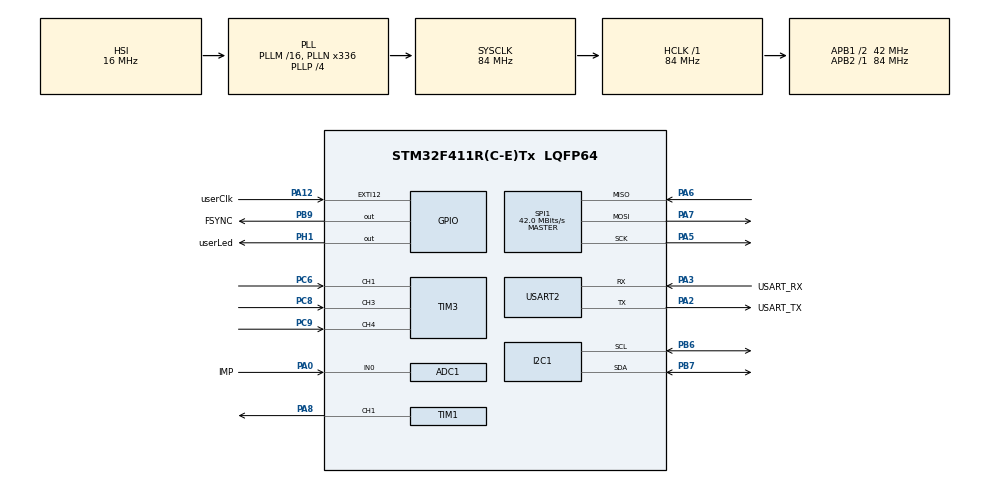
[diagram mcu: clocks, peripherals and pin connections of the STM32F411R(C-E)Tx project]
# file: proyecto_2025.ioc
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ADC1.Channel-0\#ChannelRegularConversion=ADC_CHANNEL_0
ADC1.ContinuousConvMode=ENABLE
ADC1.DMAContinuousRequests=ENABLE
ADC1.NbrOfConversionFlag=1
ADC1.Rank-0\#ChannelRegularConversion=1
ADC1.SamplingTime-0\#ChannelRegularConversion=ADC_SAMPLETIME_3CYCLES
ADC1.master=1
Dma.ADC1.0.Direction=DMA_PERIPH_TO_MEMORY
Dma.ADC1.0.FIFOMode=DMA_FIFOMODE_DISABLE
Dma.ADC1.0.Instance=DMA2_Stream0
Dma.ADC1.0.MemDataAlignment=DMA_MDATAALIGN_HALFWORD
Dma.ADC1.0.MemInc=DMA_MINC_ENABLE
Dma.ADC1.0.Mode=DMA_CIRCULAR
Dma.ADC1.0.PeriphDataAlignment=DMA_PDATAALIGN_HALFWORD
Dma.ADC1.0.PeriphInc=DMA_PINC_DISABLE
Dma.ADC1.0.Priority=DMA_PRIORITY_LOW
Dma.Request0=ADC1
I2C1.I2C_Mode=I2C_Fast
Mcu.Family=STM32F4
Mcu.Name=STM32F411R(C-E)Tx
Mcu.Package=LQFP64
NVIC.DMA2_Stream0_IRQn=true\:0\:0\:false\:false\:true\:false\:true\:true
NVIC.EXTI15_10_IRQn=true\:0\:0\:false\:false\:true\:true\:true\:true
NVIC.PriorityGroup=NVIC_PRIORITYGROUP_0
NVIC.TIM2_IRQn=true\:0\:0\:false\:false\:true\:true\:true\:true
NVIC.TIM3_IRQn=true\:0\:0\:false\:false\:true\:true\:true\:true
NVIC.USART2_IRQn=true\:0\:0\:false\:false\:true\:true\:true\:true
PA0-WKUP.GPIO_Label=IMP
PA0-WKUP.Signal=ADCx_IN0
PA12.GPIO_Label=userClk
PA12.Signal=GPXTI12
PA13.GPIO_Label=TMS
PA13.Mode=Serial_Wire
PA13.Signal=SYS_JTMS-SWDIO
PA14.GPIO_Label=TCK
PA14.Mode=Serial_Wire
PA14.Signal=SYS_JTCK-SWCLK
PA2.GPIO_Label=USART_TX
PA2.Mode=Asynchronous
PA2.Signal=USART2_TX
PA3.GPIO_Label=USART_RX
PA3.Mode=Asynchronous
PA3.Signal=USART2_RX
PA5.Mode=Full_Duplex_Master
PA5.Signal=SPI1_SCK
PA6.Mode=Full_Duplex_Master
PA6.Signal=SPI1_MISO
PA7.Mode=Full_Duplex_Master
PA7.Signal=SPI1_MOSI
PA8.Signal=S_TIM1_CH1
PB3.GPIO_Label=SWO
PB3.Signal=SYS_JTDO-SWO
PB6.Mode=I2C
PB6.Signal=I2C1_SCL
PB7.Mode=I2C
PB7.Signal=I2C1_SDA
PB9.GPIO_Label=FSYNC
PB9.GPIO_Speed=GPIO_SPEED_FREQ_VERY_HIGH
PB9.PinState=GPIO_PIN_SET
PB9.Signal=GPIO_Output
PC6.Signal=S_TIM3_CH1
PC8.Signal=S_TIM3_CH3
PC9.Signal=S_TIM3_CH4
PH1\ -\ OSC_OUT.GPIO_Label=userLed
PH1\ -\ OSC_OUT.PinState=GPIO_PIN_SET
PH1\ -\ OSC_OUT.Signal=GPIO_Output
ProjectManager.HeapSize=0x200
ProjectManager.StackSize=0x400
ProjectManager.TargetToolchain=STM32CubeIDE
RCC.48MHZClocksFreq_Value=84000000
RCC.AHBFreq_Value=84000000
RCC.APB1CLKDivider=RCC_HCLK_DIV2
RCC.APB1Freq_Value=42000000
RCC.APB1TimFreq_Value=84000000
RCC.APB2Freq_Value=84000000
RCC.APB2TimFreq_Value=84000000
RCC.CortexFreq_Value=84000000
RCC.FLatency-AdvancedSettings=FLASH_LATENCY_2
RCC.HCLKFreq_Value=84000000
RCC.HSE_VALUE=8000000
RCC.HSI_VALUE=16000000
RCC.LSE_VALUE=32768
RCC.PLLN=336
RCC.PLLP=RCC_PLLP_DIV4
RCC.SYSCLKFreq_VALUE=84000000
RCC.SYSCLKSource=RCC_SYSCLKSOURCE_PLLCLK
RCC.VCOOutputFreq_Value=336000000
SH.ADCx_IN0.0=ADC1_IN0,IN0
SH.S_TIM1_CH1.0=TIM1_CH1,PWM Generation1 CH1
SH.S_TIM3_CH1.0=TIM3_CH1,PWM_Input_1
SH.S_TIM3_CH3.0=TIM3_CH3,Input_Capture3_from_TI3
SH.S_TIM3_CH4.0=TIM3_CH4,Input_Capture4_from_TI4
SPI1.CLKPolarity=SPI_POLARITY_HIGH
SPI1.CalculateBaudRate=42.0 MBits/s
SPI1.Direction=SPI_DIRECTION_2LINES
SPI1.Mode=SPI_MODE_MASTER
SPI1.VirtualType=VM_MASTER
TIM1.Channel-PWM\ Generation1\ CH1=TIM_CHANNEL_1
TIM2.AutoReloadPreload=TIM_AUTORELOAD_PRELOAD_ENABLE
TIM2.Period=500
TIM2.Prescaler=42000-1
TIM3.Channel-Input_Capture3_from_TI3=TIM_CHANNEL_3
TIM3.Channel-Input_Capture4_from_TI4=TIM_CHANNEL_4
TIM3.TIM_MasterOutputTrigger=TIM_TRGO_UPDATE
TIM4.Period=2000-1
TIM4.Prescaler=84-1
USART2.VirtualMode=VM_ASYNC
VP_TIM1_VS_ClockSourceINT.Mode=Internal
VP_TIM2_VS_ClockSourceINT.Mode=Internal
VP_TIM3_VS_ClockSourceINT.Mode=Internal
VP_TIM4_VS_ClockSourceINT.Mode=Internal
board=NUCLEO-F411RE

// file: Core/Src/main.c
/* USER CODE BEGIN Header */
	/**
	  ******************************************************************************
	  * @file           : main.c
	  * @brief          : Main program body
	  ******************************************************************************
	  * @attention
	  *
	  * Copyright (c) 2025 STMicroelectronics.
	  * All rights reserved.
	  *
	  * This software is licensed under terms that can be found in the LICENSE file
	  * in the root directory of this software component.
	  * If no LICENSE file comes with this software, it is provided AS-IS.
	  *
	  ******************************************************************************
	  */
/* USER CODE END Header */
#include "main.h"

/* USER CODE BEGIN Includes */
#include "fsm.h"
#include "AD9833.h"
#include "utils.h"

/* USER CODE END Includes */

/* USER CODE BEGIN PM */
#define LCD_ADDR_7BIT 0x22
extern I2C_HandleTypeDef hi2c1;
#define INT_ENABLE_REG     0x38
#define WHO_AM_I_REG       0x75
I2C_LCD_HandleTypeDef hlcd;
/* USER CODE END PM */

ADC_HandleTypeDef hadc1;
DMA_HandleTypeDef hdma_adc1;

I2C_HandleTypeDef hi2c1;

SPI_HandleTypeDef hspi1;

TIM_HandleTypeDef htim1;
TIM_HandleTypeDef htim2;
TIM_HandleTypeDef htim3;
TIM_HandleTypeDef htim4;

UART_HandleTypeDef huart2;

/* USER CODE BEGIN PV */

I2C_LCD_HandleTypeDef hlcd;
// ==== Globals DMA-TX ====
uint8_t   tx_ring[TX_BUFFER_SIZE];
volatile uint16_t  tx_head = 0, tx_tail = 0;
volatile uint8_t   tx_dma_busy = 0;
volatile uint16_t  tx_last_len = 0;
uint32_t counterOverflow= 0;
// ==== Muestreo / FFT ====
volatile uint16_t num_samples_to_capture = 512;
volatile uint16_t capture_index        = 0;
volatile uint16_t adc_max_ch1 = 0, adc_max_ch2 = 0;
volatile uint8_t  is_capture_active    = 0;
static uint32_t start_tick = 0;
volatile uint16_t cycle_count = 0;
#define CYCLES_TO_MEASURE 10
float     phase_results[FFT_SIZE_MAX];
float     frequency_results[FFT_SIZE_MAX];
volatile uint8_t command_ready_flag = 0;
char command_buffer[100] = {0};
float     freq_buffer[FREQ_BUFFER_SIZE] = {0};
uint8_t   freq_index = 0, freq_full = 0;

volatile float frecuencia_generada = 1000.0f;
#define ADC_BUF_LEN 1024 // Tamaño del buffer, preferiblemente una potencia de 2
uint16_t adc_dma_buffer[ADC_BUF_LEN];

// Variables para guardar los resultados del procesamiento
volatile uint16_t adc_max = 0;
volatile uint16_t adc_min = 4095;
volatile uint8_t data_ready_flag = 0;
uint32_t  timer_clk       = 84000000UL;
uint32_t  last_lcd_update = 0;

// Variables temporales para recepción simple (pueden ser estáticas o globales)
static uint8_t rx_index_simple = 0;
static char rx_buffer_simple[100] = {0};
// --- Input Capture ---
volatile uint32_t capture_ch1   = 0;
volatile uint32_t 	capture_ch2 = 0;
volatile uint32_t period_ticks  = 0;
volatile uint8_t  capture_flags = 0;
uint32_t last_uart_activity = 0;
// --- UART RX buffer ---
uint8_t rx_index   = 0;
uint8_t  rx_char    = 0;
char    rx_buffer[100]     = {0};
// --- FSM event ---
volatile e_PosiblesEvents current_event = EVENT_NONE;
// FSM necesita esto
char current_mode_str[21] = {0};
// --- FFT instance ---
arm_rfft_fast_instance_f32 fft_instance;
uint16_t fft_size = 512;

uint8_t tx_buffer[TX_BUFFER_SIZE] = {0};

volatile uint32_t ic_ref      = 0;
volatile uint32_t ic_sig      = 0;
volatile uint32_t last_ref    = 0;
volatile uint8_t  got_ref     = 0;
volatile uint8_t  got_sig     = 0;

/* USER CODE END PV */

void SystemClock_Config(void);
static void MX_GPIO_Init(void);
static void MX_DMA_Init(void);
static void MX_USART2_UART_Init(void);
static void MX_TIM2_Init(void);
static void MX_TIM4_Init(void);
static void MX_TIM3_Init(void);
static void MX_I2C1_Init(void);
static void MX_SPI1_Init(void);
static void MX_TIM1_Init(void);
static void MX_ADC1_Init(void);
/* USER CODE BEGIN PFP */
void System_Init(void);

/* USER CODE END PFP */

/* USER CODE BEGIN 0 */
	void ADC_Set_Sampling_Freq(uint32_t sampling_freq) {
	    if (sampling_freq == 0 || sampling_freq > 2000000) return; // Límite de 2 MHz

	    uint32_t timer_clk = 84000000;
	    uint32_t arr_value = (timer_clk / sampling_freq) - 1;
	    uint16_t psc_value = 0;

	    if (arr_value > 65535) {
	        psc_value = arr_value / 65536;
	        arr_value = (timer_clk / ((psc_value + 1) * sampling_freq)) - 1;
	    }

	    __HAL_TIM_SET_PRESCALER(&htim2, psc_value);
	    __HAL_TIM_SET_AUTORELOAD(&htim2, arr_value);
	}

	/**
	  * @brief Ajusta la frecuencia de la señal PWM generada por TIM1.
	  * @param freq_hz: Frecuencia deseada en Hertz.
	  * @retval None
	  */
	void PWM_SetFrequency(uint32_t freq_hz) {
	    if (freq_hz == 0 || freq_hz > 500000) {
	        return;
	    }

	    // El reloj para TIM1 en tu configuración es de 84MHz
	    uint32_t timer_clk = 84000000;
	    uint32_t arr_value;
	    uint32_t psc_value = 0;

	    // Fórmula: F_pwm = timer_clk / ((PSC+1) * (ARR+1))
	    // Primero, calculamos el valor de ARR asumiendo que el prescaler es 0
	    arr_value = (timer_clk / freq_hz) - 1;

	    // Si el valor de ARR excede el máximo de 16 bits (65535),
	    // debemos ajustar el prescaler para bajar la frecuencia del contador.
	    if (arr_value > 65535) {
	        psc_value = arr_value / 65536;
	        arr_value = (timer_clk / ((psc_value + 1) * freq_hz)) - 1;
	    }

	    // Actualiza los registros del timer en tiempo real
	    __HAL_TIM_SET_PRESCALER(&htim1, psc_value);
	    __HAL_TIM_SET_AUTORELOAD(&htim1, arr_value);

	    // Fija el ciclo de trabajo al 50%
	    __HAL_TIM_SET_COMPARE(&htim1, TIM_CHANNEL_1, arr_value / 2);

	    // Actualiza la variable global para mostrarla en el LCD
	    frecuencia_generada = (float)freq_hz;

	}

void System_Init(void) {
		HAL_ADC_Start_DMA(&hadc1, (uint32_t*)adc_dma_buffer, ADC_BUF_LEN);
    	HAL_TIM_PWM_Start(&htim1, TIM_CHANNEL_1);
	    HAL_TIM_Base_Start_IT(&htim2);
	    HAL_TIM_Base_Start_IT(&htim3);
	    HAL_TIM_Base_Start_IT(&htim4);
	    hlcd.hi2c    = &hi2c1;
	    hlcd.address = LCD_ADDR_7BIT << 1;
	    lcd_init(&hlcd);
	    init_fsm();
	    arm_rfft_fast_init_f32(&fft_instance, fft_size);
	    frecuencia_generada = 1000;
	    lcd_gotoxy(&hlcd, 0, 0);
	    lcd_puts(&hlcd, "   LCD FUNCIONA   ");
	    lcd_gotoxy(&hlcd, 0, 1);
	    lcd_puts(&hlcd, " STM32 + I2C OK ");
	    HAL_Delay(1500);
	    init_fsm();

	    HAL_TIM_Base_Start(&htim2);
	    HAL_UART_Receive_IT(&huart2, &rx_char, 1);
	    PWM_SetFrequency(1000);
	    strcpy(current_mode_str, "ESPERA");
	    mostrar_LCD();
	}

/* USER CODE END 0 */

int main(void)
{

  /* MCU Configuration--------------------------------------------------------*/

  /* Reset of all peripherals, Initializes the Flash interface and the Systick. */
	HAL_Init();

  /* Configure the system clock */
  SystemClock_Config();

  /* Initialize all configured peripherals */
  MX_GPIO_Init();
  MX_DMA_Init();
  MX_USART2_UART_Init();
  MX_TIM2_Init();
  MX_TIM4_Init();
  MX_TIM3_Init();
  MX_I2C1_Init();
  MX_SPI1_Init();
  MX_TIM1_Init();
  MX_ADC1_Init();
  /* USER CODE BEGIN 2 */
  /* Initialize all configured peripherals */

  AD9833_Init(&hspi1);
  I2C_Scanner();
  SPI_Debug_AD9833();
  System_Init();

  //current_event = EVENT_IMP_SWEEP_START;

  /* USER CODE END 2 */

  /* Infinite loop */
	  while (1)
	  {

    /* USER CODE BEGIN 3 */

		  if (current_event != EVENT_NONE) {
		         state_machine_action(current_event);
		         current_event = EVENT_NONE;
		     }

	  }
  /* USER CODE END 3 */
}

void SystemClock_Config(void)
{
  RCC_OscInitTypeDef RCC_OscInitStruct = {0};
  RCC_ClkInitTypeDef RCC_ClkInitStruct = {0};

  /** Configure the main internal regulator output voltage
  */
  __HAL_RCC_PWR_CLK_ENABLE();
  __HAL_PWR_VOLTAGESCALING_CONFIG(PWR_REGULATOR_VOLTAGE_SCALE1);

  /** Initializes the RCC Oscillators according to the specified parameters
  * in the RCC_OscInitTypeDef structure.
  */
  RCC_OscInitStruct.OscillatorType = RCC_OSCILLATORTYPE_HSI;
  RCC_OscInitStruct.HSIState = RCC_HSI_ON;
  RCC_OscInitStruct.HSICalibrationValue = RCC_HSICALIBRATION_DEFAULT;
  RCC_OscInitStruct.PLL.PLLState = RCC_PLL_ON;
  RCC_OscInitStruct.PLL.PLLSource = RCC_PLLSOURCE_HSI;
  RCC_OscInitStruct.PLL.PLLM = 16;
  RCC_OscInitStruct.PLL.PLLN = 336;
  RCC_OscInitStruct.PLL.PLLP = RCC_PLLP_DIV4;
  RCC_OscInitStruct.PLL.PLLQ = 4;
  if (HAL_RCC_OscConfig(&RCC_OscInitStruct) != HAL_OK)
  {
    Error_Handler();
  }

  /** Initializes the CPU, AHB and APB buses clocks
  */
  RCC_ClkInitStruct.ClockType = RCC_CLOCKTYPE_HCLK|RCC_CLOCKTYPE_SYSCLK
                              |RCC_CLOCKTYPE_PCLK1|RCC_CLOCKTYPE_PCLK2;
  RCC_ClkInitStruct.SYSCLKSource = RCC_SYSCLKSOURCE_PLLCLK;
  RCC_ClkInitStruct.AHBCLKDivider = RCC_SYSCLK_DIV1;
  RCC_ClkInitStruct.APB1CLKDivider = RCC_HCLK_DIV2;
  RCC_ClkInitStruct.APB2CLKDivider = RCC_HCLK_DIV1;

  if (HAL_RCC_ClockConfig(&RCC_ClkInitStruct, FLASH_LATENCY_2) != HAL_OK)
  {
    Error_Handler();
  }
}

static void MX_ADC1_Init(void)
{

  ADC_ChannelConfTypeDef sConfig = {0};

  /** Configure the global features of the ADC (Clock, Resolution, Data Alignment and number of conversion)
  */
  hadc1.Instance = ADC1;
  hadc1.Init.ClockPrescaler = ADC_CLOCK_SYNC_PCLK_DIV4;
  hadc1.Init.Resolution = ADC_RESOLUTION_12B;
  hadc1.Init.ScanConvMode = DISABLE;
  hadc1.Init.ContinuousConvMode = ENABLE;
  hadc1.Init.DiscontinuousConvMode = DISABLE;
  hadc1.Init.ExternalTrigConvEdge = ADC_EXTERNALTRIGCONVEDGE_NONE;
  hadc1.Init.ExternalTrigConv = ADC_SOFTWARE_START;
  hadc1.Init.DataAlign = ADC_DATAALIGN_RIGHT;
  hadc1.Init.NbrOfConversion = 1;
  hadc1.Init.DMAContinuousRequests = ENABLE;
  hadc1.Init.EOCSelection = ADC_EOC_SINGLE_CONV;
  if (HAL_ADC_Init(&hadc1) != HAL_OK)
  {
    Error_Handler();
  }

  /** Configure for the selected ADC regular channel its corresponding rank in the sequencer and its sample time.
  */
  sConfig.Channel = ADC_CHANNEL_0;
  sConfig.Rank = 1;
  sConfig.SamplingTime = ADC_SAMPLETIME_3CYCLES;
  if (HAL_ADC_ConfigChannel(&hadc1, &sConfig) != HAL_OK)
  {
    Error_Handler();
  }

}

static void MX_I2C1_Init(void)
{

  hi2c1.Instance = I2C1;
  hi2c1.Init.ClockSpeed = 400000;
  hi2c1.Init.DutyCycle = I2C_DUTYCYCLE_2;
  hi2c1.Init.OwnAddress1 = 0;
  hi2c1.Init.AddressingMode = I2C_ADDRESSINGMODE_7BIT;
  hi2c1.Init.DualAddressMode = I2C_DUALADDRESS_DISABLE;
  hi2c1.Init.OwnAddress2 = 0;
  hi2c1.Init.GeneralCallMode = I2C_GENERALCALL_DISABLE;
  hi2c1.Init.NoStretchMode = I2C_NOSTRETCH_DISABLE;
  if (HAL_I2C_Init(&hi2c1) != HAL_OK)
  {
    Error_Handler();
  }

}

static void MX_SPI1_Init(void)
{

  /* SPI1 parameter configuration*/
  hspi1.Instance = SPI1;
  hspi1.Init.Mode = SPI_MODE_MASTER;
  hspi1.Init.Direction = SPI_DIRECTION_2LINES;
  hspi1.Init.DataSize = SPI_DATASIZE_8BIT;
  hspi1.Init.CLKPolarity = SPI_POLARITY_HIGH;
  hspi1.Init.CLKPhase = SPI_PHASE_1EDGE;
  hspi1.Init.NSS = SPI_NSS_SOFT;
  hspi1.Init.BaudRatePrescaler = SPI_BAUDRATEPRESCALER_2;
  hspi1.Init.FirstBit = SPI_FIRSTBIT_MSB;
  hspi1.Init.TIMode = SPI_TIMODE_DISABLE;
  hspi1.Init.CRCCalculation = SPI_CRCCALCULATION_DISABLE;
  hspi1.Init.CRCPolynomial = 10;
  if (HAL_SPI_Init(&hspi1) != HAL_OK)
  {
    Error_Handler();
  }

}

static void MX_TIM1_Init(void)
{

  TIM_ClockConfigTypeDef sClockSourceConfig = {0};
  TIM_MasterConfigTypeDef sMasterConfig = {0};
  TIM_OC_InitTypeDef sConfigOC = {0};
  TIM_BreakDeadTimeConfigTypeDef sBreakDeadTimeConfig = {0};

  htim1.Instance = TIM1;
  htim1.Init.Prescaler = 0;
  htim1.Init.CounterMode = TIM_COUNTERMODE_UP;
  htim1.Init.Period = 65535;
  htim1.Init.ClockDivision = TIM_CLOCKDIVISION_DIV1;
  htim1.Init.RepetitionCounter = 0;
  htim1.Init.AutoReloadPreload = TIM_AUTORELOAD_PRELOAD_DISABLE;
  if (HAL_TIM_Base_Init(&htim1) != HAL_OK)
  {
    Error_Handler();
  }
  sClockSourceConfig.ClockSource = TIM_CLOCKSOURCE_INTERNAL;
  if (HAL_TIM_ConfigClockSource(&htim1, &sClockSourceConfig) != HAL_OK)
  {
    Error_Handler();
  }
  if (HAL_TIM_PWM_Init(&htim1) != HAL_OK)
  {
    Error_Handler();
  }
  sMasterConfig.MasterOutputTrigger = TIM_TRGO_RESET;
  sMasterConfig.MasterSlaveMode = TIM_MASTERSLAVEMODE_DISABLE;
  if (HAL_TIMEx_MasterConfigSynchronization(&htim1, &sMasterConfig) != HAL_OK)
  {
    Error_Handler();
  }
  sConfigOC.OCMode = TIM_OCMODE_PWM1;
  sConfigOC.Pulse = 0;
  sConfigOC.OCPolarity = TIM_OCPOLARITY_HIGH;
  sConfigOC.OCNPolarity = TIM_OCNPOLARITY_HIGH;
  sConfigOC.OCFastMode = TIM_OCFAST_DISABLE;
  sConfigOC.OCIdleState = TIM_OCIDLESTATE_RESET;
  sConfigOC.OCNIdleState = TIM_OCNIDLESTATE_RESET;
  if (HAL_TIM_PWM_ConfigChannel(&htim1, &sConfigOC, TIM_CHANNEL_1) != HAL_OK)
  {
    Error_Handler();
  }
  sBreakDeadTimeConfig.OffStateRunMode = TIM_OSSR_DISABLE;
  sBreakDeadTimeConfig.OffStateIDLEMode = TIM_OSSI_DISABLE;
  sBreakDeadTimeConfig.LockLevel = TIM_LOCKLEVEL_OFF;
  sBreakDeadTimeConfig.DeadTime = 0;
  sBreakDeadTimeConfig.BreakState = TIM_BREAK_DISABLE;
  sBreakDeadTimeConfig.BreakPolarity = TIM_BREAKPOLARITY_HIGH;
  sBreakDeadTimeConfig.AutomaticOutput = TIM_AUTOMATICOUTPUT_DISABLE;
  if (HAL_TIMEx_ConfigBreakDeadTime(&htim1, &sBreakDeadTimeConfig) != HAL_OK)
  {
    Error_Handler();
  }
  HAL_TIM_MspPostInit(&htim1);

}

static void MX_TIM2_Init(void)
{

  TIM_ClockConfigTypeDef sClockSourceConfig = {0};
  TIM_MasterConfigTypeDef sMasterConfig = {0};

  htim2.Instance = TIM2;
  htim2.Init.Prescaler = 42000-1;
  htim2.Init.CounterMode = TIM_COUNTERMODE_UP;
  htim2.Init.Period = 500;
  htim2.Init.ClockDivision = TIM_CLOCKDIVISION_DIV1;
  htim2.Init.AutoReloadPreload = TIM_AUTORELOAD_PRELOAD_ENABLE;
  if (HAL_TIM_Base_Init(&htim2) != HAL_OK)
  {
    Error_Handler();
  }
  sClockSourceConfig.ClockSource = TIM_CLOCKSOURCE_INTERNAL;
  if (HAL_TIM_ConfigClockSource(&htim2, &sClockSourceConfig) != HAL_OK)
  {
    Error_Handler();
  }
  sMasterConfig.MasterOutputTrigger = TIM_TRGO_RESET;
  sMasterConfig.MasterSlaveMode = TIM_MASTERSLAVEMODE_DISABLE;
  if (HAL_TIMEx_MasterConfigSynchronization(&htim2, &sMasterConfig) != HAL_OK)
  {
    Error_Handler();
  }

}

static void MX_TIM3_Init(void)
{

  /* USER CODE BEGIN TIM3_Init 0 */
  HAL_NVIC_SetPriority(TIM3_IRQn, 0, 0);
  HAL_NVIC_EnableIRQ(TIM3_IRQn);
	HAL_TIM_IC_Start_IT(&htim3, TIM_CHANNEL_3);
	HAL_TIM_IC_Start_IT(&htim3, TIM_CHANNEL_4);
  /* USER CODE END TIM3_Init 0 */

  TIM_ClockConfigTypeDef sClockSourceConfig = {0};
  TIM_MasterConfigTypeDef sMasterConfig = {0};
  TIM_IC_InitTypeDef sConfigIC = {0};
  TIM_SlaveConfigTypeDef sSlaveConfig = {0};

  htim3.Instance = TIM3;
  htim3.Init.Prescaler = 0;
  htim3.Init.CounterMode = TIM_COUNTERMODE_UP;
  htim3.Init.Period = 65535;
  htim3.Init.ClockDivision = TIM_CLOCKDIVISION_DIV1;
  htim3.Init.AutoReloadPreload = TIM_AUTORELOAD_PRELOAD_DISABLE;
  if (HAL_TIM_Base_Init(&htim3) != HAL_OK)
  {
    Error_Handler();
  }
  sClockSourceConfig.ClockSource = TIM_CLOCKSOURCE_INTERNAL;
  if (HAL_TIM_ConfigClockSource(&htim3, &sClockSourceConfig) != HAL_OK)
  {
    Error_Handler();
  }
  if (HAL_TIM_IC_Init(&htim3) != HAL_OK)
  {
    Error_Handler();
  }
  sMasterConfig.MasterOutputTrigger = TIM_TRGO_UPDATE;
  sMasterConfig.MasterSlaveMode = TIM_MASTERSLAVEMODE_DISABLE;
  if (HAL_TIMEx_MasterConfigSynchronization(&htim3, &sMasterConfig) != HAL_OK)
  {
    Error_Handler();
  }
  sConfigIC.ICPolarity = TIM_INPUTCHANNELPOLARITY_RISING;
  sConfigIC.ICSelection = TIM_ICSELECTION_DIRECTTI;
  sConfigIC.ICPrescaler = TIM_ICPSC_DIV1;
  sConfigIC.ICFilter = 0;
  if (HAL_TIM_IC_ConfigChannel(&htim3, &sConfigIC, TIM_CHANNEL_3) != HAL_OK)
  {
    Error_Handler();
  }
  if (HAL_TIM_IC_ConfigChannel(&htim3, &sConfigIC, TIM_CHANNEL_4) != HAL_OK)
  {
    Error_Handler();
  }
  sSlaveConfig.SlaveMode = TIM_SLAVEMODE_RESET;
  sSlaveConfig.InputTrigger = TIM_TS_TI1FP1;
  sSlaveConfig.TriggerPolarity = TIM_INPUTCHANNELPOLARITY_RISING;
  sSlaveConfig.TriggerPrescaler = TIM_ICPSC_DIV1;
  sSlaveConfig.TriggerFilter = 0;
  if (HAL_TIM_SlaveConfigSynchro(&htim3, &sSlaveConfig) != HAL_OK)
  {
    Error_Handler();
  }
  if (HAL_TIM_IC_ConfigChannel(&htim3, &sConfigIC, TIM_CHANNEL_1) != HAL_OK)
  {
    Error_Handler();
  }
  sConfigIC.ICPolarity = TIM_INPUTCHANNELPOLARITY_FALLING;
  sConfigIC.ICSelection = TIM_ICSELECTION_INDIRECTTI;
  if (HAL_TIM_IC_ConfigChannel(&htim3, &sConfigIC, TIM_CHANNEL_2) != HAL_OK)
  {
    Error_Handler();
  }

}

static void MX_TIM4_Init(void)
{

  TIM_ClockConfigTypeDef sClockSourceConfig = {0};
  TIM_MasterConfigTypeDef sMasterConfig = {0};

  htim4.Instance = TIM4;
  htim4.Init.Prescaler = 84-1;
  htim4.Init.CounterMode = TIM_COUNTERMODE_UP;
  htim4.Init.Period = 2000-1;
  htim4.Init.ClockDivision = TIM_CLOCKDIVISION_DIV1;
  htim4.Init.AutoReloadPreload = TIM_AUTORELOAD_PRELOAD_DISABLE;
  if (HAL_TIM_Base_Init(&htim4) != HAL_OK)
  {
    Error_Handler();
  }
  sClockSourceConfig.ClockSource = TIM_CLOCKSOURCE_INTERNAL;
  if (HAL_TIM_ConfigClockSource(&htim4, &sClockSourceConfig) != HAL_OK)
  {
    Error_Handler();
  }
  sMasterConfig.MasterOutputTrigger = TIM_TRGO_RESET;
  sMasterConfig.MasterSlaveMode = TIM_MASTERSLAVEMODE_DISABLE;
  if (HAL_TIMEx_MasterConfigSynchronization(&htim4, &sMasterConfig) != HAL_OK)
  {
    Error_Handler();
  }

}

static void MX_USART2_UART_Init(void)
{

  huart2.Instance = USART2;
  huart2.Init.BaudRate = 115200;
  huart2.Init.WordLength = UART_WORDLENGTH_8B;
  huart2.Init.StopBits = UART_STOPBITS_1;
  huart2.Init.Parity = UART_PARITY_NONE;
  huart2.Init.Mode = UART_MODE_TX_RX;
  huart2.Init.HwFlowCtl = UART_HWCONTROL_NONE;
  huart2.Init.OverSampling = UART_OVERSAMPLING_16;
  if (HAL_UART_Init(&huart2) != HAL_OK)
  {
    Error_Handler();
  }
  /* USER CODE BEGIN USART2_Init 2 */
  HAL_NVIC_SetPriority(USART2_IRQn, 2, 0); // Fija la prioridad a 2, como mencionaste
  HAL_NVIC_EnableIRQ(USART2_IRQn);
  /* USER CODE END USART2_Init 2 */

}

static void MX_DMA_Init(void)
{

  /* DMA controller clock enable */
  __HAL_RCC_DMA2_CLK_ENABLE();

  /* DMA interrupt init */
  /* DMA2_Stream0_IRQn interrupt configuration */
  HAL_NVIC_SetPriority(DMA2_Stream0_IRQn, 0, 0);
  HAL_NVIC_EnableIRQ(DMA2_Stream0_IRQn);

}

static void MX_GPIO_Init(void)
{
  GPIO_InitTypeDef GPIO_InitStruct = {0};

  /* GPIO Ports Clock Enable */
  __HAL_RCC_GPIOH_CLK_ENABLE();
  __HAL_RCC_GPIOA_CLK_ENABLE();
  __HAL_RCC_GPIOC_CLK_ENABLE();
  __HAL_RCC_GPIOB_CLK_ENABLE();

  /*Configure GPIO pin Output Level */
  HAL_GPIO_WritePin(userLed_GPIO_Port, userLed_Pin, GPIO_PIN_SET);

  /*Configure GPIO pin Output Level */
  HAL_GPIO_WritePin(FSYNC_GPIO_Port, FSYNC_Pin, GPIO_PIN_SET);

  /*Configure GPIO pin : userLed_Pin */
  GPIO_InitStruct.Pin = userLed_Pin;
  GPIO_InitStruct.Mode = GPIO_MODE_OUTPUT_PP;
  GPIO_InitStruct.Pull = GPIO_NOPULL;
  GPIO_InitStruct.Speed = GPIO_SPEED_FREQ_LOW;
  HAL_GPIO_Init(userLed_GPIO_Port, &GPIO_InitStruct);

  /*Configure GPIO pin : userClk_Pin */
  GPIO_InitStruct.Pin = userClk_Pin;
  GPIO_InitStruct.Mode = GPIO_MODE_IT_RISING;
  GPIO_InitStruct.Pull = GPIO_NOPULL;
  HAL_GPIO_Init(userClk_GPIO_Port, &GPIO_InitStruct);

  /*Configure GPIO pin : FSYNC_Pin */
  GPIO_InitStruct.Pin = FSYNC_Pin;
  GPIO_InitStruct.Mode = GPIO_MODE_OUTPUT_PP;
  GPIO_InitStruct.Pull = GPIO_NOPULL;
  GPIO_InitStruct.Speed = GPIO_SPEED_FREQ_VERY_HIGH;
  HAL_GPIO_Init(FSYNC_GPIO_Port, &GPIO_InitStruct);

  /* EXTI interrupt init*/
  HAL_NVIC_SetPriority(EXTI15_10_IRQn, 0, 0);
  HAL_NVIC_EnableIRQ(EXTI15_10_IRQn);

}

/* USER CODE BEGIN 4 */

void HAL_ADC_ConvCpltCallback(ADC_HandleTypeDef* hadc) {
    // El DMA ha llenado la segunda mitad del buffer (desde ADC_BUF_LEN/2 hasta el final).
    // Ahora podemos procesar esos datos de forma segura.
    uint16_t temp_max = 0;
    uint16_t temp_min = 4095;

    for (int i = ADC_BUF_LEN / 2; i < ADC_BUF_LEN; i++) {
        if (adc_dma_buffer[i] > temp_max) {
            temp_max = adc_dma_buffer[i];
        }
        if (adc_dma_buffer[i] < temp_min) {
            temp_min = adc_dma_buffer[i];
        }
    }
    // Actualizamos las variables globales de forma "atómica"
    adc_max = temp_max;
    adc_min = temp_min;

    // Indicamos que hay un nuevo set de datos de amplitud listos
    current_event = EVENT_DATA_READY;
}
void HAL_TIM_PeriodElapsedCallback(TIM_HandleTypeDef *htim){

	if (htim->Instance == TIM2) {
	        HAL_GPIO_TogglePin(userLed_GPIO_Port, userLed_Pin);
	    } else if (htim->Instance == TIM3) {
	        counterOverflow++;
	    }
}
void HAL_UART_TxCpltCallback(UART_HandleTypeDef *huart) {
	if (huart == &huart2) {
	        // --- LINEA DE DEPURACION TEMPORAL ---
	        HAL_UART_Transmit(&huart2, (uint8_t*)"[TxCplt]\r\n", 12,HAL_MAX_DELAY);
	        // --- FIN LINEA DE DEPURACION ---

	        tx_tail = (tx_tail + tx_last_len) % TX_BUFFER_SIZE;
	        tx_dma_busy = 0; // Marcar DMA libre

	        // Si hay más datos pendientes, reiniciar transmisión
	        if (tx_tail != tx_head) {
	            uint16_t remaining = (tx_head > tx_tail) ?
	                               (tx_head - tx_tail) :
	                               (TX_BUFFER_SIZE - tx_tail);
	            tx_last_len = remaining;
	            tx_dma_busy = 1;
	            HAL_UART_Transmit_DMA(huart, &tx_ring[tx_tail], remaining);
	        }
	    }
}

void HAL_UART_RxCpltCallback(UART_HandleTypeDef *huart) {
	if (huart->Instance == USART2) {
	        // Protección para evitar desbordamiento del buffer de recepción
	        if (rx_index_simple >= sizeof(rx_buffer_simple) - 1) {
	            rx_index_simple = 0;
	            memset(rx_buffer_simple, 0, sizeof(rx_buffer_simple));
	        }

	        // Si se recibe el terminador '@'
	        if (rx_char == '@') {
	            rx_buffer_simple[rx_index_simple] = '\0'; // Terminar la cadena de recepción

	            // Copiar de forma segura al buffer de comando global
	            strncpy(command_buffer, rx_buffer_simple, sizeof(command_buffer) - 1);
	            command_buffer[sizeof(command_buffer) - 1] = '\0';

	            // *** LA CLAVE: SOLO ESTABLECE EL EVENTO PARA LA FSM ***
	            current_event = EVENT_USART_COMMAND;

	            // Reiniciar el buffer de recepción para el siguiente comando
	            rx_index_simple = 0;
	            memset(rx_buffer_simple, 0, sizeof(rx_buffer_simple));

	        } else {
	            // Si no es el final, solo almacena el carácter
	            rx_buffer_simple[rx_index_simple++] = rx_char;
	        }

	        // Siempre reactivar la interrupción para el siguiente carácter
	        HAL_UART_Receive_IT(&huart2, &rx_char, 1);
	    }
}
/**
  * @brief  Callback de interrupción para la Captura de Entrada (Input Capture).
  * Esta función se llama cada vez que el timer detecta un flanco en un canal de IC.
  * @param  htim: Puntero a la estructura del timer.
  * @retval None
  */
void HAL_TIM_IC_CaptureCallback(TIM_HandleTypeDef *htim) {
    // 1. VERIFICACIÓN INICIAL
    // Solo procesar si hay una medición activa. Esto evita ejecuciones accidentales.
    if (!is_capture_active) {
        return;
    }

// Asegurarse de que la interrupción proviene del Timer 3.
if (htim->Instance == TIM3) {

	// 2. CAPTURA DE LA SEÑAL DE FASE (CANAL 4)
	// Se captura el tiempo de la señal que se desfasa.
	if (htim->Channel == HAL_TIM_ACTIVE_CHANNEL_4) {
		// Solo nos interesa el primer flanco que llega después de iniciar la medición.
		if (!got_sig) {
			ic_sig = HAL_TIM_ReadCapturedValue(htim, TIM_CHANNEL_4);
			got_sig = 1; // Marcar que ya tenemos la captura de fase.
		}
	}

	// 3. CAPTURA DE LA SEÑAL DE REFERENCIA (CANAL 3)
	// Usamos esta señal para medir la frecuencia y como referencia para la fase.
	if (htim->Channel == HAL_TIM_ACTIVE_CHANNEL_3) {

		// 3.1. INICIO DE LA MEDICIÓN
		// Si es el primer flanco (cycle_count es 0), guardamos el tiempo de inicio.
		if (cycle_count == 0) {
			start_tick = HAL_TIM_ReadCapturedValue(htim, TIM_CHANNEL_3);
			// Reiniciar contadores y flags para esta nueva medición.
			counterOverflow = 0;
			got_sig = 0;
			cycle_count++; // Incrementar para esperar los siguientes flancos.

		// 3.2. FIN DE LA MEDICIÓN
		// Si ya no es el primer flanco, contamos hasta completar los ciclos necesarios.
		} else {
			cycle_count++;
			// Cuando hemos capturado suficientes ciclos (ej. 10 flancos para 9 periodos).
			if (cycle_count >= CYCLES_TO_MEASURE) {
				uint32_t end_tick = HAL_TIM_ReadCapturedValue(htim, TIM_CHANNEL_3);
				uint32_t total_ticks;

				// Calcular ticks totales, manejando el desbordamiento (overflow) del timer.
				if (end_tick >= start_tick) {
					total_ticks = (end_tick - start_tick) + (counterOverflow * (htim->Init.Period + 1));
				} else {
					total_ticks = (htim->Init.Period + 1 - start_tick) + end_tick + (counterOverflow * (htim->Init.Period + 1));
				}

				// Si la medición es válida, proceder con los cálculos.
				if (total_ticks > 0) {
					// Obtener la frecuencia del reloj del timer (considerando el prescaler).
					uint32_t tim_prescaler = htim->Init.Prescaler;
					uint32_t timclk = (HAL_RCC_GetPCLK1Freq() * 2) / (tim_prescaler + 1);

					// Calcular el periodo promedio en ticks.
					float avg_period_ticks = (float)total_ticks / (CYCLES_TO_MEASURE - 1);

					// Calcular la frecuencia medida.
					frecuencia_medida = (float)timclk / avg_period_ticks;

					// Calcular el desfase.
					if (got_sig) {
						uint32_t diff_ticks;
						if (ic_sig >= start_tick) { // Caso simple: captura en el mismo ciclo del timer.
							diff_ticks = ic_sig - start_tick;
						} else { // Caso complejo: hubo un overflow entre la referencia y la fase.
							diff_ticks = (htim->Init.Period + 1 - start_tick) + ic_sig;
						}
						fase_medida = fmodf(((float)diff_ticks / avg_period_ticks) * 360.0f, 360.0f);
					} else {
						fase_medida = 0.0f; // No se detectó señal de fase.
					}

					// Guardar los resultados en los arrays.
					if (capture_index < num_samples_to_capture) {
						frequency_results[capture_index] = frecuencia_medida;
						phase_results[capture_index] = fase_medida;
						capture_index++;
					}

					// Indicar que los datos están listos y la medición ha terminado.
					is_capture_active = 0;
					current_event = EVENT_DATA_READY;
				}

				// Reiniciar el contador de ciclos para la próxima medición.
				cycle_count = 0;
			}
		}
	}
}
}

//void HAL_GPIO_EXTI_Callback(uint16_t GPIO_Pin)
//{
//    if (GPIO_Pin == userClk_Pin) {
//        data_snapshot = HAL_GPIO_ReadPin(userData_GPIO_Port, userData_Pin);
//        if (pending_event == IDLE)
//            pending_event = EVENT_ENCODER;
//    } else if (GPIO_Pin == userSw_Pin) {
//        if (pending_event == IDLE)
//            pending_event = EVENT_SW;
//    }
//}

/* USER CODE END 4 */

void Error_Handler(void)
{
	  __disable_irq();
	  while (1)
	  {
	  }
}
